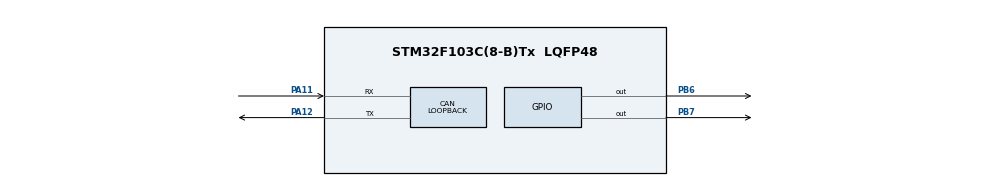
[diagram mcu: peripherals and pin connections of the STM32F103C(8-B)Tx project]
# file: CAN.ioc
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CAN.ABOM=ENABLE
CAN.AWUM=ENABLE
CAN.CalculateTimeBit=6000
CAN.CalculateTimeQuantum=2000.0
CAN.Mode=CAN_MODE_LOOPBACK
Mcu.Family=STM32F1
Mcu.Name=STM32F103C(8-B)Tx
Mcu.Package=LQFP48
NVIC.PriorityGroup=NVIC_PRIORITYGROUP_4
PA0-WKUP.Mode=SYS_WakeUp0
PA0-WKUP.Signal=SYS_WKUP
PA11.Mode=Master
PA11.Signal=CAN_RX
PA12.Mode=Master
PA12.Signal=CAN_TX
PA13.Mode=JTAG_4_pins
PA13.Signal=SYS_JTMS-SWDIO
PA14.Mode=JTAG_4_pins
PA14.Signal=SYS_JTCK-SWCLK
PA15.Mode=JTAG_4_pins
PA15.Signal=SYS_JTDI
PB3.Mode=JTAG_4_pins
PB3.Signal=SYS_JTDO-TRACESWO
PB6.PinState=GPIO_PIN_SET
PB6.Signal=GPIO_Output
PB7.PinState=GPIO_PIN_SET
PB7.Signal=GPIO_Output
ProjectManager.HeapSize=0x200
ProjectManager.StackSize=0x400
ProjectManager.TargetToolchain=MDK-ARM V5
RCC.APB1Freq_Value=8000000
RCC.APB2Freq_Value=8000000
board=CAN

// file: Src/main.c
/**
  ******************************************************************************
  * File Name          : main.c
  * Description        : Main program body
  ******************************************************************************
  ** This notice applies to any and all portions of this file
  * that are not between comment pairs USER CODE BEGIN and
  * USER CODE END. Other portions of this file, whether
  * inserted by the user or by software development tools
  * are owned by their respective copyright owners.
  *
  * COPYRIGHT(c) 2017 STMicroelectronics
  *
  * Redistribution and use in source and binary forms, with or without modification,
  * are permitted provided that the following conditions are met:
  *   1. Redistributions of source code must retain the above copyright notice,
  *      this list of conditions and the following disclaimer.
  *   2. Redistributions in binary form must reproduce the above copyright notice,
  *      this list of conditions and the following disclaimer in the documentation
  *      and/or other materials provided with the distribution.
  *   3. Neither the name of STMicroelectronics nor the names of its contributors
  *      may be used to endorse or promote products derived from this software
  *      without specific prior written permission.
  *
  * THIS SOFTWARE IS PROVIDED BY THE COPYRIGHT HOLDERS AND CONTRIBUTORS "AS IS"
  * AND ANY EXPRESS OR IMPLIED WARRANTIES, INCLUDING, BUT NOT LIMITED TO, THE
  * IMPLIED WARRANTIES OF MERCHANTABILITY AND FITNESS FOR A PARTICULAR PURPOSE ARE
  * DISCLAIMED. IN NO EVENT SHALL THE COPYRIGHT HOLDER OR CONTRIBUTORS BE LIABLE
  * FOR ANY DIRECT, INDIRECT, INCIDENTAL, SPECIAL, EXEMPLARY, OR CONSEQUENTIAL
  * DAMAGES (INCLUDING, BUT NOT LIMITED TO, PROCUREMENT OF SUBSTITUTE GOODS OR
  * SERVICES; LOSS OF USE, DATA, OR PROFITS; OR BUSINESS INTERRUPTION) HOWEVER
  * CAUSED AND ON ANY THEORY OF LIABILITY, WHETHER IN CONTRACT, STRICT LIABILITY,
  * OR TORT (INCLUDING NEGLIGENCE OR OTHERWISE) ARISING IN ANY WAY OUT OF THE USE
  * OF THIS SOFTWARE, EVEN IF ADVISED OF THE POSSIBILITY OF SUCH DAMAGE.
  *
  ******************************************************************************
  */

#include "main.h"
#include "stm32f1xx_hal.h"

CAN_HandleTypeDef hcan;

/* USER CODE BEGIN PV */
/* Private variables ---------------------------------------------------------*/

/* USER CODE END PV */

void SystemClock_Config(void);
static void MX_GPIO_Init(void);
static void MX_CAN_Init(void);

/* USER CODE BEGIN PFP */
/* Private function prototypes -----------------------------------------------*/

/* USER CODE END PFP */

int main(void)
{

  /* MCU Configuration----------------------------------------------------------*/

  /* Reset of all peripherals, Initializes the Flash interface and the Systick. */
  HAL_Init();

  /* Configure the system clock */
  SystemClock_Config();

  /* Initialize all configured peripherals */
  MX_GPIO_Init();
  MX_CAN_Init();

  /* USER CODE BEGIN 2 */
	HAL_GPIO_WritePin(GPIOB,GPIO_PIN_6,GPIO_PIN_RESET);
	HAL_GPIO_WritePin(GPIOB,GPIO_PIN_7,GPIO_PIN_RESET);

	extern HAL_StatusTypeDef CAN_Polling();
	if (CAN_Polling() ==  HAL_OK)
	{
		HAL_GPIO_WritePin(GPIOB,GPIO_PIN_6,GPIO_PIN_SET);
	}

  /* USER CODE END 2 */

  /* Infinite loop */
  while (1)
  {

  }

}

/** System Clock Configuration
*/
void SystemClock_Config(void)
{

  RCC_OscInitTypeDef RCC_OscInitStruct;
  RCC_ClkInitTypeDef RCC_ClkInitStruct;

    /**Initializes the CPU, AHB and APB busses clocks
    */
  RCC_OscInitStruct.OscillatorType = RCC_OSCILLATORTYPE_HSI;
  RCC_OscInitStruct.HSIState = RCC_HSI_ON;
  RCC_OscInitStruct.HSICalibrationValue = 16;
  RCC_OscInitStruct.PLL.PLLState = RCC_PLL_NONE;
  if (HAL_RCC_OscConfig(&RCC_OscInitStruct) != HAL_OK)
  {
    _Error_Handler(__FILE__, __LINE__);
  }

    /**Initializes the CPU, AHB and APB busses clocks
    */
  RCC_ClkInitStruct.ClockType = RCC_CLOCKTYPE_HCLK|RCC_CLOCKTYPE_SYSCLK
                              |RCC_CLOCKTYPE_PCLK1|RCC_CLOCKTYPE_PCLK2;
  RCC_ClkInitStruct.SYSCLKSource = RCC_SYSCLKSOURCE_HSI;
  RCC_ClkInitStruct.AHBCLKDivider = RCC_SYSCLK_DIV1;
  RCC_ClkInitStruct.APB1CLKDivider = RCC_HCLK_DIV1;
  RCC_ClkInitStruct.APB2CLKDivider = RCC_HCLK_DIV1;

  if (HAL_RCC_ClockConfig(&RCC_ClkInitStruct, FLASH_LATENCY_0) != HAL_OK)
  {
    _Error_Handler(__FILE__, __LINE__);
  }

    /**Configure the Systick interrupt time
    */
  HAL_SYSTICK_Config(HAL_RCC_GetHCLKFreq()/1000);

    /**Configure the Systick
    */
  HAL_SYSTICK_CLKSourceConfig(SYSTICK_CLKSOURCE_HCLK);

  /* SysTick_IRQn interrupt configuration */
  HAL_NVIC_SetPriority(SysTick_IRQn, 0, 0);
}

/* CAN init function */
static void MX_CAN_Init(void)
{

  hcan.Instance = CAN1;
  hcan.Init.Prescaler = 16;
  hcan.Init.Mode = CAN_MODE_LOOPBACK;
  hcan.Init.SJW = CAN_SJW_1TQ;
  hcan.Init.BS1 = CAN_BS1_1TQ;
  hcan.Init.BS2 = CAN_BS2_1TQ;
  hcan.Init.TTCM = DISABLE;
  hcan.Init.ABOM = ENABLE;
  hcan.Init.AWUM = ENABLE;
  hcan.Init.NART = DISABLE;
  hcan.Init.RFLM = DISABLE;
  hcan.Init.TXFP = DISABLE;
  if (HAL_CAN_Init(&hcan) != HAL_OK)
  {
    _Error_Handler(__FILE__, __LINE__);
  }

}

/** Configure pins as
        * Analog
        * Input
        * Output
        * EVENT_OUT
        * EXTI
*/
static void MX_GPIO_Init(void)
{

  GPIO_InitTypeDef GPIO_InitStruct;

  /* GPIO Ports Clock Enable */
  __HAL_RCC_GPIOA_CLK_ENABLE();
  __HAL_RCC_GPIOB_CLK_ENABLE();

  /*Configure GPIO pin Output Level */
  HAL_GPIO_WritePin(GPIOB, GPIO_PIN_6|GPIO_PIN_7, GPIO_PIN_SET);

  /*Configure GPIO pins : PB6 PB7 */
  GPIO_InitStruct.Pin = GPIO_PIN_6|GPIO_PIN_7;
  GPIO_InitStruct.Mode = GPIO_MODE_OUTPUT_PP;
  GPIO_InitStruct.Speed = GPIO_SPEED_FREQ_LOW;
  HAL_GPIO_Init(GPIOB, &GPIO_InitStruct);

}

/* USER CODE BEGIN 4 */

/*CAN Initial*/
HAL_StatusTypeDef CAN_Polling()
{
	extern CAN_HandleTypeDef hcan;
	static CanTxMsgTypeDef        TxMessage;
  static CanRxMsgTypeDef        RxMessage;

	hcan.pTxMsg = &TxMessage;
  hcan.pRxMsg = &RxMessage;

/* -1- Configure the CAN Filter*/
	CAN_FilterConfTypeDef canfilter;
	canfilter.FilterIdHigh = 0x0000;
	canfilter.FilterIdLow = 0x0000;
	canfilter.FilterMaskIdHigh = 0x0000;
	canfilter.FilterMaskIdLow = 0x0000;
	canfilter.FilterFIFOAssignment = CAN_FILTER_FIFO0;
	canfilter.FilterNumber = 0;
	canfilter.FilterMode = CAN_FILTERMODE_IDMASK;
	canfilter.FilterScale = CAN_FILTERSCALE_32BIT;
	canfilter.FilterActivation = ENABLE;
	canfilter.BankNumber = 2;
	if (HAL_CAN_ConfigFilter(&hcan,&canfilter) != HAL_OK)
  {
    _Error_Handler(__FILE__, __LINE__);
  }

/* -2- Start the Transmission process*/

	hcan.pTxMsg->StdId = 0x11;
  hcan.pTxMsg->RTR = CAN_RTR_DATA;
  hcan.pTxMsg->IDE = CAN_ID_STD;
  hcan.pTxMsg->DLC = 2;
  hcan.pTxMsg->Data[0] = 0xCA;
  hcan.pTxMsg->Data[1] = 0xFE;
	if(HAL_CAN_Transmit(&hcan, 10) != HAL_OK)
  {
    /* Transmission Error */
    Error_Handler();
  }
	if(HAL_CAN_GetState(&hcan) != HAL_CAN_STATE_READY)
  {
    return HAL_ERROR;
  }

  /*##-4- Start the Reception process ########################################*/
  if(HAL_CAN_Receive(&hcan, CAN_FIFO0,10) != HAL_OK)
  {
    /* Reception Error */
    Error_Handler();
  }

  if(HAL_CAN_GetState(&hcan) != HAL_CAN_STATE_READY)
  {
    return HAL_ERROR;
  }

  if (hcan.pRxMsg->StdId != 0x11)
  {
    return HAL_ERROR;
  }

  if (hcan.pRxMsg->IDE != CAN_ID_STD)
  {
    return HAL_ERROR;
  }

  if (hcan.pRxMsg->DLC != 2)
  {
    return HAL_ERROR;
  }

  if ((hcan.pRxMsg->Data[0]<<8|RxMessage.Data[1]) != 0xCAFE)
  {
    return HAL_ERROR;
  }

  return HAL_OK;
}
/**/

/* USER CODE END 4 */

void _Error_Handler(char * file, int line)
{
  while(1)
  {
  }
}

/************************ (C) COPYRIGHT STMicroelectronics *****END OF FILE****/
